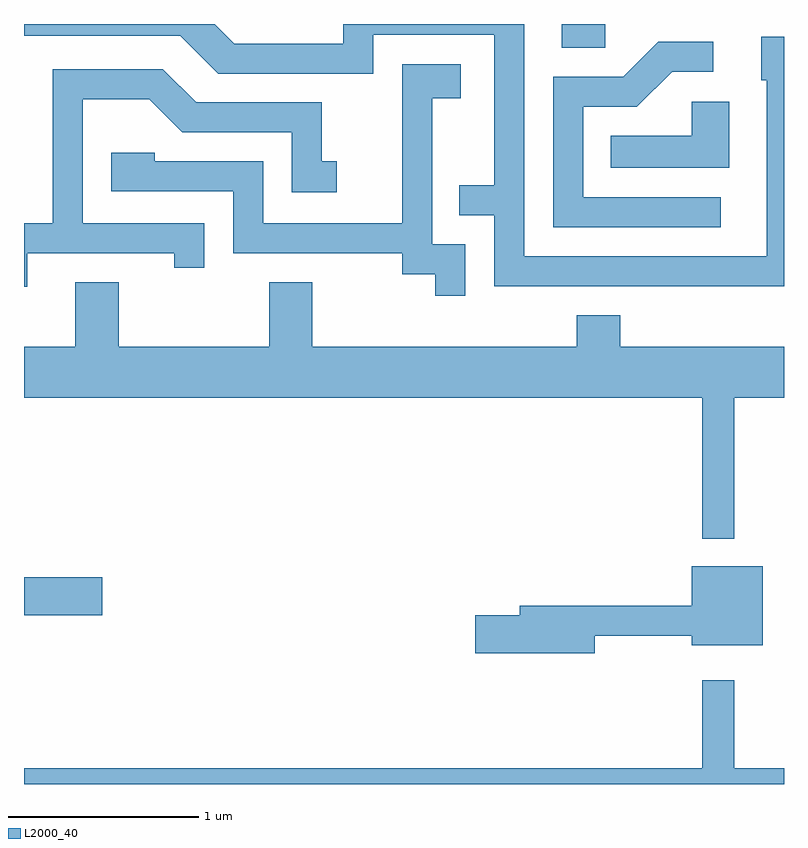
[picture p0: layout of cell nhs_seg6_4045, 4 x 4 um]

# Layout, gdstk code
import gdstk
lib = gdstk.Library(unit=1e-6, precision=1e-09)
def R(c, l, rs):  # rectangles x0, y0, x1, y1
    for r in rs: c.add(gdstk.rectangle(r[:2], r[2:], *l))
def P(c, l, *ps):  # polygons
    for p in ps: c.add(gdstk.Polygon(p, *l))
L2000_40 = (2000, 40)

nhs_seg6_4045 = lib.new_cell('nhs_seg6_4045')
R(nhs_seg6_4045, L2000_40, [(307.611,1611.051,308.024,1611.249), (310.441,1614.036,310.669,1614.162)])
P(nhs_seg6_4045, L2000_40, [(311.611,1614.094),(311.491,1614.094),(311.491,1613.866),(311.521,1613.866),(311.521,1612.939),(310.244,1612.939),(310.244,1614.162),(309.291,1614.162),(309.291,1614.059),(308.717,1614.059),(308.614,1614.162),(307.611,1614.162),(307.611,1614.101),(308.434,1614.101),(308.634,1613.901),(309.449,1613.901),(309.449,1614.106),(310.086,1614.106),(310.086,1613.314),(309.903,1613.314),(309.903,1613.156),(310.086,1613.156),(310.086,1612.781),(311.611,1612.781)],
  [(311.278,1613.249),(310.554,1613.249),(310.554,1613.726),(310.837,1613.726),(311.022,1613.911),(311.238,1613.911),(311.238,1614.069),(310.949,1614.069),(310.764,1613.884),(310.396,1613.884),(310.396,1613.091),(311.278,1613.091)],
  [(309.934,1613.004),(309.759,1613.004),(309.759,1613.771),(309.909,1613.771),(309.909,1613.949),(309.601,1613.949),(309.601,1613.114),(308.869,1613.114),(308.869,1613.439),(308.299,1613.439),(308.299,1613.484),(308.071,1613.484),(308.071,1613.281),(308.711,1613.281),(308.711,1612.956),(309.601,1612.956),(309.601,1612.846),(309.776,1612.846),(309.776,1612.733),(309.934,1612.733)],
  [(307.629,1612.956),(308.401,1612.956),(308.401,1612.878),(308.559,1612.878),(308.559,1613.114),(307.919,1613.114),(307.919,1613.766),(308.269,1613.766),(308.444,1613.591),(309.021,1613.591),(309.021,1613.276),(309.258,1613.276),(309.258,1613.439),(309.179,1613.439),(309.179,1613.749),(308.517,1613.749),(308.342,1613.924),(307.761,1613.924),(307.761,1613.114),(307.611,1613.114),(307.611,1612.778),(307.629,1612.778)],
  [(311.324,1613.754),(311.126,1613.754),(311.126,1613.574),(310.698,1613.574),(310.698,1613.406),(311.324,1613.406)],
  [(311.349,1612.196),(311.611,1612.196),(311.611,1612.464),(310.749,1612.464),(310.749,1612.629),(310.521,1612.629),(310.521,1612.464),(309.129,1612.464),(309.129,1612.804),(308.901,1612.804),(308.901,1612.464),(308.109,1612.464),(308.109,1612.804),(307.881,1612.804),(307.881,1612.464),(307.611,1612.464),(307.611,1612.196),(311.181,1612.196),(311.181,1611.453),(311.349,1611.453)],
  [(310.614,1610.941),(311.126,1610.941),(311.126,1610.891),(311.499,1610.891),(311.499,1611.309),(311.126,1611.309),(311.126,1611.099),(310.221,1611.099),(310.221,1611.049),(309.986,1611.049),(309.986,1610.851),(310.614,1610.851)],
  [(311.611,1610.244),(311.349,1610.244),(311.349,1610.708),(311.181,1610.708),(311.181,1610.244),(307.611,1610.244),(307.611,1610.162),(311.611,1610.162)])

lib.write_gds('nhs_seg6_4045.gds')
